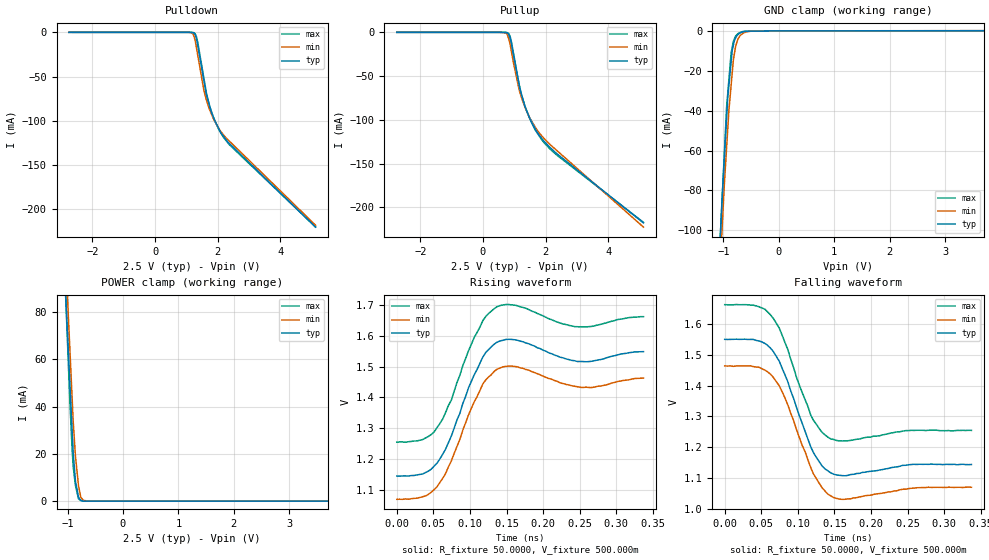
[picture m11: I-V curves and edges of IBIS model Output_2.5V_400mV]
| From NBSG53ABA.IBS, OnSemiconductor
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[Model] Output_2.5V_400mV
Model_type Output_ECL
Vref=0.50000V
Rref=50.0000ohms
Cref=0.00000pF
Vmeas=1.34000V
C_comp 500.0fF 500.0fF 500.0fF
[Model Spec]
Vmeas 1.34719   1.26622   1.45855
|Vref  0.50000V  0.3750V  0.6250V
|Rref  50ohms   50ohms   50ohms
|Cref  0.00pF   0.00pF   0.00pF
| variable typ   min   max
[Voltage Range]   2.50000V  2.37500V  2.62500V
[POWER Clamp Reference] 2.50000V  2.37500V  2.62500V
[Pullup Reference]   2.50000V  2.37500V  2.62500V
[Pulldown Reference]   2.50000V  2.37500V  2.62500V
[GND Clamp Reference]   0.00000V  0.00000V  0.00000V
[Temperature Range]  25   85   0
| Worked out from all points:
|   GND clamp passes 1 mA (typ) near -0.69 V on its own axis
|   POWER clamp passes 1 mA (typ) near -0.78 V on its own axis
|   falling waveform, R_fixture 50.0000, V_fixture 500.000m: 20-80 % time 37.6ps typ, 37.8ps min, 37.5ps max; typ from 1.55 V to 1.14 V
|   rising waveform, R_fixture 50.0000, V_fixture 500.000m: 20-80 % time 39.7ps typ, 40ps min, 39.4ps max; typ from 1.14 V to 1.55 V
[GND Clamp]
-2.5V     -951.2mA   -900.6mA   -924.6mA
-1.023V   -83.45mA   -98.42mA   -84.05mA
-982.5mV  -63.35mA   -76.39mA   -60.96mA
-942mV    -43.26mA   -58.15mA   -37.89mA
-921.8mV  -33.22mA   -49.04mA   -31.19mA
-901.4mV  -27.3mA    -39.9mA    -24.47mA
-861.1mV  -15.53mA   -27.25mA   -11.14mA
-841mV    -9.677mA   -20.96mA   -8.233mA
-820.9mV  -7.222mA   -14.63mA   -5.313mA
-780.5mV  -3.632mA   -7.756mA   -2.645mA
-679.2mV  -828.6uA   -1.919mA   -548.7uA
5V        51.31uA    169.4uA    52.08uA
[Pulldown]
-2.75V    11.24uA    38.33uA    33.62uA
1.095V    -11.24uA   -65.64uA   28.78uA
1.244V    -999.3uA   -4.626mA   -462.3uA
1.301V    -4.382mA   -12.95mA   -3.091mA
1.365V    -14.99mA   -25.99mA   -11.43mA
1.554V    -53.32mA   -64.55mA   -50.71mA
1.635V    -69.7mA    -75.92mA   -67.49mA
1.744V    -83.38mA   -87.58mA   -83.54mA
1.865V    -96.07mA   -97.75mA   -96.18mA
2.184V    -117.4mA   -115.8mA   -118.6mA
2.366V    -125.4mA   -122.7mA   -126.8mA
5.125V    -220.2mA   -218.1mA   -220.1mA
[Pullup]
-2.75V    28.11uA    44.06uA    3.173uA
739.6mV   -129.6uA   -899.2uA   -96.41uA
820.3mV   -1.954mA   -7.124mA   -1.202mA
901.3mV   -11.57mA   -20.37mA   -9.237mA
1.159V    -60.86mA   -66.01mA   -59.79mA
1.26V     -74.7mA    -77.72mA   -74.51mA
1.341V    -84.57mA   -85.36mA   -84.3mA
1.477V    -96.88mA   -96.37mA   -97.21mA
1.659V    -109.8mA   -107.7mA   -111mA
1.877V    -121.2mA   -118.2mA   -122.7mA
2.357V    -138.7mA   -135mA     -140.2mA
5.125V    -217.8mA   -222.6mA   -217.1mA
[POWER Clamp]
-2.75V    928.3mA    975.1mA    1.091A
-1.061V   99.67mA    115.9mA    101.6mA
-1.02V    79.86mA    95.37mA    77.96mA
-959.7mV  50.18mA    64.6mA     42.52mA
-919.2mV  30.32mA    44mA       22.23mA
-898.7mV  20.26mA    33.57mA    14.52mA
-858.5mV  8.468mA    19.08mA    6.635mA
-803.3mV  1.652mA    6.495mA    975.7uA
-763mV    380uA      1.758mA    193.2uA
-722.4mV  18.76uA    486.8uA    15.71uA
-640.9mV  14.52uA    80.4uA     7.437uA
5.125V    0A         0A         0A
[Falling Waveform]
R_fixture = 50.0000
V_fixture = 500.000m
V_fixture_min = 375.000m
V_fixture_max = 625.000m
0s        1.55V      1.464V     1.663V
43.1ps    1.546V     1.46V      1.659V
66.6ps    1.51V      1.426V     1.617V
82.3ps    1.435V     1.36V      1.54V
117.6ps   1.201V     1.133V     1.304V
133.3ps   1.138V     1.067V     1.247V
145ps     1.116V     1.041V     1.227V
164.6ps   1.107V     1.031V     1.22V
254.8ps   1.143V     1.066V     1.254V
337.1ps   1.143V     1.07V      1.254V
[Rising Waveform]
R_fixture = 50.0000
V_fixture = 500.000m
V_fixture_min = 375.000m
V_fixture_max = 625.000m
0s        1.144V     1.069V     1.254V
35.3ps    1.151V     1.077V     1.263V
54.9ps    1.186V     1.109V     1.301V
74.5ps    1.274V     1.193V     1.391V
105.8ps   1.474V     1.386V     1.595V
121.5ps   1.546V     1.457V     1.663V
137.2ps   1.58V      1.492V     1.695V
164.6ps   1.586V     1.5V       1.698V
243ps     1.519V     1.436V     1.63V
337.1ps   1.549V     1.463V     1.662V
[Ramp]
| variable typ min max
dV/dt_r 242.398m/39.6335p 237.971m/40.1408p 246.133m/40.1615p
dV/dt_f 242.398m/37.2065p 237.971m/38.3371p 246.133m/37.9071p
R_load = 50.0000Ohms
